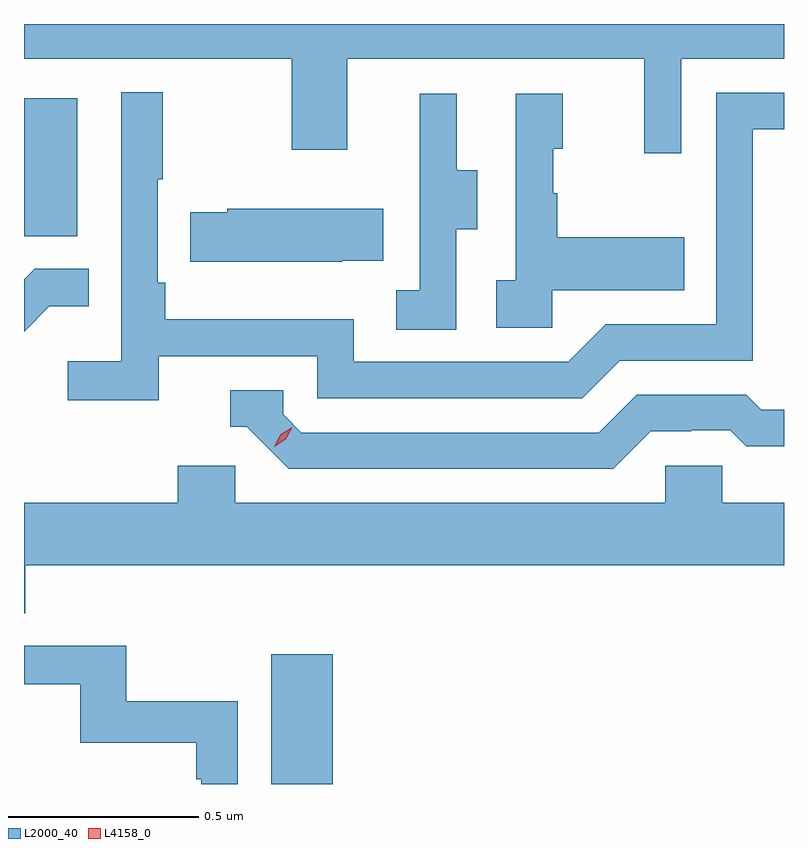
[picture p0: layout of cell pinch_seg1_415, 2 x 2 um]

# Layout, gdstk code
import gdstk
lib = gdstk.Library(unit=1e-6, precision=1e-09)
def R(c, l, rs):  # rectangles x0, y0, x1, y1
    for r in rs: c.add(gdstk.rectangle(r[:2], r[2:], *l))
def P(c, l, *ps):  # polygons
    for p in ps: c.add(gdstk.Polygon(p, *l))
L2000_40 = (2000, 40)
L4158_0 = (4158, 0)

pinch_seg1_415 = lib.new_cell('pinch_seg1_415')
R(pinch_seg1_415, L2000_40, [(935.003,529.844,935.164,530.185), (934.352,531.285,934.492,531.649)])
P(pinch_seg1_415, L2000_40, [(936.081,531.752),(936.352,531.752),(936.352,531.844),(934.352,531.844),(934.352,531.752),(935.056,531.752),(935.056,531.513),(935.203,531.513),(935.203,531.752),(935.984,531.752),(935.984,531.504),(936.081,531.504)],
  [(934.706,530.97),(935.124,530.97),(935.124,530.859),(935.821,530.859),(935.92,530.958),(936.27,530.958),(936.27,531.567),(936.352,531.567),(936.352,531.663),(936.174,531.663),(936.174,531.054),(935.883,531.054),(935.784,530.955),(935.22,530.955),(935.22,531.067),(934.724,531.067),(934.724,531.163),(934.704,531.163),(934.704,531.436),(934.717,531.436),(934.717,531.664),(934.608,531.664),(934.608,530.956),(934.467,530.956),(934.467,530.854),(934.706,530.854)],
  [(935.742,531.143),(936.089,531.143),(936.089,531.283),(935.755,531.283),(935.755,531.398),(935.745,531.398),(935.745,531.516),(935.77,531.516),(935.77,531.661),(935.646,531.661),(935.646,531.17),(935.595,531.17),(935.595,531.045),(935.742,531.045)],
  [(935.49,531.304),(935.545,531.304),(935.545,531.459),(935.491,531.459),(935.491,531.661),(935.393,531.661),(935.393,531.447),(935.394,531.447),(935.394,531.143),(935.331,531.143),(935.331,531.04),(935.49,531.04)],
  [(935.189,531.221),(935.297,531.221),(935.297,531.358),(934.887,531.358),(934.887,531.348),(934.789,531.348),(934.789,531.218),(935.189,531.218)],
  [(934.419,531.101),(934.523,531.101),(934.523,531.2),(934.38,531.2),(934.352,531.172),(934.352,531.034)],
  [(936.001,530.772),(936.108,530.772),(936.108,530.775),(936.211,530.775),(936.253,530.733),(936.352,530.733),(936.352,530.829),(936.292,530.829),(936.253,530.868),(935.964,530.868),(935.865,530.769),(935.082,530.769),(935.034,530.817),(935.034,530.88),(934.895,530.88),(934.895,530.784),(934.938,530.784),(935.049,530.673),(935.902,530.673)],
  [(934.355,530.42),(936.352,530.42),(936.352,530.584),(936.189,530.584),(936.189,530.682),(936.039,530.682),(936.039,530.584),(934.908,530.584),(934.908,530.682),(934.757,530.682),(934.757,530.584),(934.352,530.584),(934.352,530.293),(934.355,530.293)],
  [(934.914,530.062),(934.621,530.062),(934.621,530.208),(934.352,530.208),(934.352,530.107),(934.5,530.107),(934.5,529.952),(934.805,529.952),(934.805,529.856),(934.818,529.856),(934.818,529.844),(934.914,529.844)])
P(pinch_seg1_415, L4158_0, [(935.01,530.732),(935.01,530.732),(935.027,530.764),(935.058,530.783),(935.058,530.783),(935.058,530.783),(935.041,530.751),(935.01,530.732)])

lib.write_gds('pinch_seg1_415.gds')
